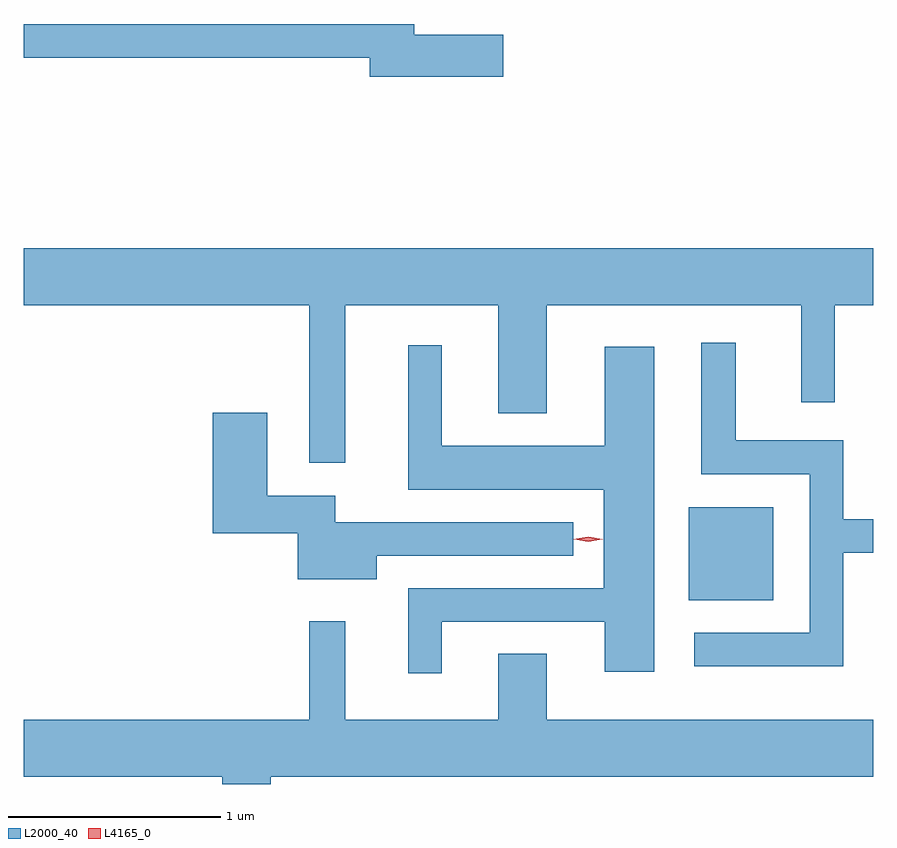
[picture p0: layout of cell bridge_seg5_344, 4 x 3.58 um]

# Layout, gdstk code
import gdstk
lib = gdstk.Library(unit=1e-6, precision=1e-09)
def R(c, l, rs):  # rectangles x0, y0, x1, y1
    for r in rs: c.add(gdstk.rectangle(r[:2], r[2:], *l))
def P(c, l, *ps):  # polygons
    for p in ps: c.add(gdstk.Polygon(p, *l))
L2000_40 = (2000, 40)
L4165_0 = (4165, 0)

bridge_seg5_344 = lib.new_cell('bridge_seg5_344')
R(bridge_seg5_344, L2000_40, [(900.156,1393.246,900.554,1393.684)])
P(bridge_seg5_344, L2000_40, [(899.284,1395.909),(898.864,1395.909),(898.864,1395.959),(897.026,1395.959),(897.026,1395.801),(898.656,1395.801),(898.656,1395.711),(899.284,1395.711)],
  [(898.539,1394.636),(899.261,1394.636),(899.261,1394.126),(899.489,1394.126),(899.489,1394.636),(900.686,1394.636),(900.686,1394.178),(900.844,1394.178),(900.844,1394.636),(901.026,1394.636),(901.026,1394.904),(897.026,1394.904),(897.026,1394.636),(898.371,1394.636),(898.371,1393.893),(898.539,1393.893)],
  [(900.884,1393.471),(901.026,1393.471),(901.026,1393.629),(900.884,1393.629),(900.884,1393.999),(900.379,1393.999),(900.379,1394.458),(900.216,1394.458),(900.216,1393.841),(900.726,1393.841),(900.726,1393.094),(900.183,1393.094),(900.183,1392.936),(900.884,1392.936)],
  [(898.994,1393.146),(899.761,1393.146),(899.761,1392.911),(899.994,1392.911),(899.994,1394.439),(899.761,1394.439),(899.761,1393.974),(898.994,1393.974),(898.994,1394.448),(898.836,1394.448),(898.836,1393.766),(899.756,1393.766),(899.756,1393.304),(898.836,1393.304),(898.836,1392.903),(898.994,1392.903)],
  [(898.689,1393.456),(899.613,1393.456),(899.613,1393.614),(898.494,1393.614),(898.494,1393.739),(898.174,1393.739),(898.174,1394.129),(897.916,1394.129),(897.916,1393.561),(898.316,1393.561),(898.316,1393.346),(898.689,1393.346)],
  [(898.189,1392.416),(901.026,1392.416),(901.026,1392.684),(899.489,1392.684),(899.489,1392.994),(899.261,1392.994),(899.261,1392.684),(898.539,1392.684),(898.539,1393.148),(898.371,1393.148),(898.371,1392.684),(897.026,1392.684),(897.026,1392.416),(897.961,1392.416),(897.961,1392.382),(898.189,1392.382)])
P(bridge_seg5_344, L4165_0, [(899.684,1393.523),(899.618,1393.533),(899.617,1393.533),(899.618,1393.534),(899.684,1393.543),(899.75,1393.534),(899.75,1393.533),(899.75,1393.533)],
  [(899.683,1393.525),(899.614,1393.534),(899.614,1393.535),(899.614,1393.535),(899.683,1393.545),(899.752,1393.535),(899.753,1393.535),(899.752,1393.534)])

lib.write_gds('bridge_seg5_344.gds')
